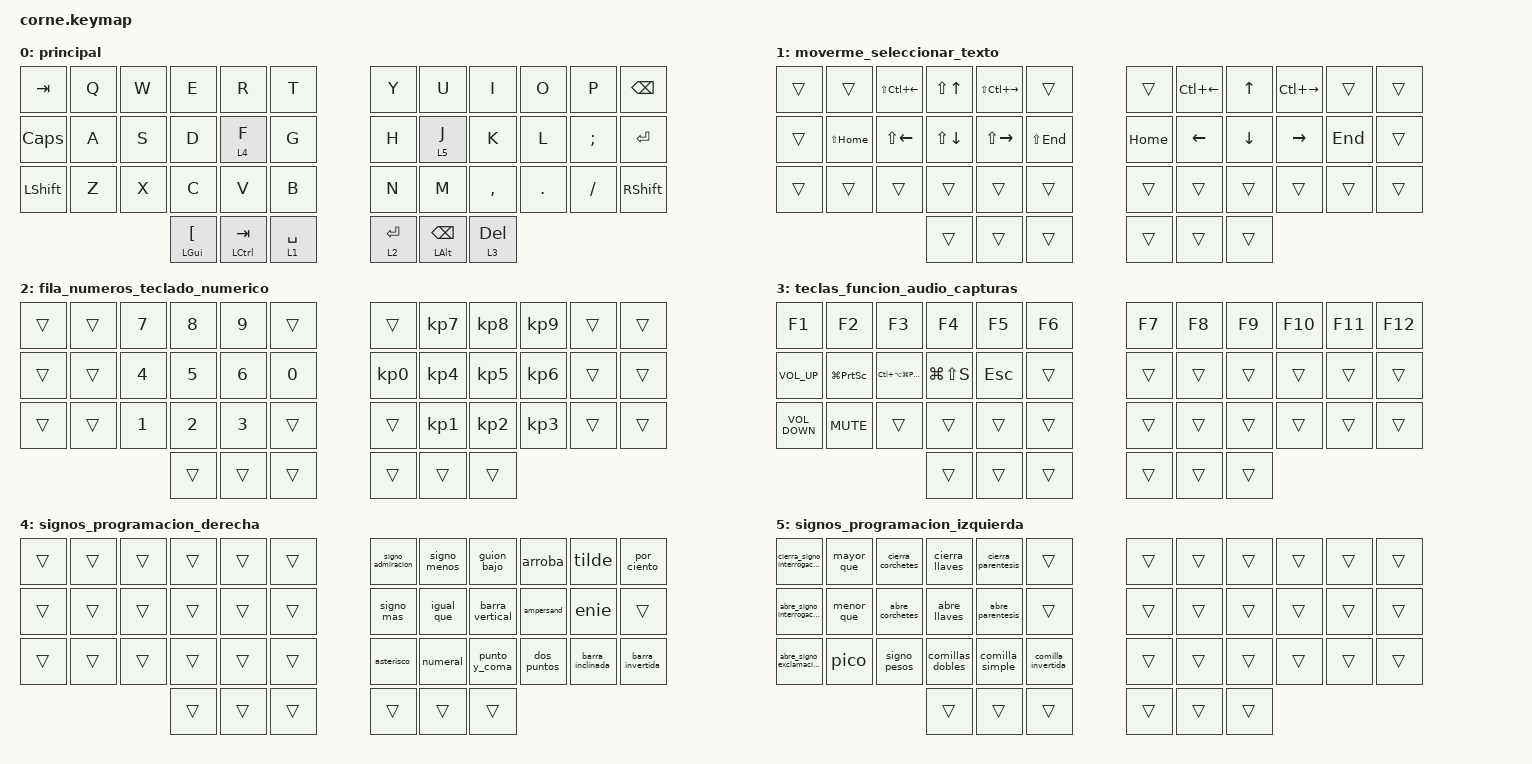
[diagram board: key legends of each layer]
/*
 * Copyright (c) 2020 The ZMK Contributors
 *
 * SPDX-License-Identifier: MIT
 */

#include <behaviors.dtsi>
#include <dt-bindings/zmk/keys.h>
#include <dt-bindings/zmk/bt.h>

/ {
    macros {
        menor_que: menor_a {
            compatible = "zmk,behavior-macro";
            #binding-cells = <0>;
            bindings =
                <&macro_press &kp LEFT_ALT &kp KP_NUMBER_6 &kp KP_NUMBER_0>,
                <&macro_release &kp LEFT_ALT &kp KP_NUMBER_6 &kp KP_NUMBER_0>;

            label = "MENOR_A";
        };

        mayor_que: mayor_que {
            compatible = "zmk,behavior-macro";
            #binding-cells = <0>;
            bindings =
                <&macro_press &kp LEFT_ALT &kp KP_NUMBER_6 &kp KP_NUMBER_2>,
                <&macro_release &kp LEFT_ALT &kp KP_NUMBER_6 &kp KP_NUMBER_2>;

            label = "MAYOR_QUE";
        };

        abre_corchetes: abre_corchetes {
            compatible = "zmk,behavior-macro";
            #binding-cells = <0>;
            bindings =
                <&macro_press &kp LEFT_ALT &kp KP_NUMBER_9 &kp KP_NUMBER_1>,
                <&macro_release &kp LEFT_ALT &kp KP_NUMBER_9 &kp KP_NUMBER_1>;

            label = "ABRE_CORCHETES";
        };

        cierra_corchetes: cierra_corchetes {
            compatible = "zmk,behavior-macro";
            #binding-cells = <0>;
            bindings =
                <&macro_press &kp LEFT_ALT &kp KP_NUMBER_9 &kp KP_NUMBER_3>,
                <&macro_release &kp LEFT_ALT &kp KP_NUMBER_9 &kp KP_NUMBER_3>;

            label = "CIERRA_CORCHETES";
        };

        abre_llaves: abre_llaves {
            compatible = "zmk,behavior-macro";
            #binding-cells = <0>;
            bindings =
                <&macro_press &kp LEFT_ALT &kp KP_NUMBER_1 &kp KP_NUMBER_2 &kp KP_NUMBER_3>,
                <&macro_release &kp LEFT_ALT &kp KP_NUMBER_1 &kp KP_NUMBER_2 &kp KP_NUMBER_3>;

            label = "ABRE_LLAVES";
        };

        cierra_llaves: cierra_llaves {
            compatible = "zmk,behavior-macro";
            #binding-cells = <0>;
            bindings =
                <&macro_press &kp LEFT_ALT &kp KP_NUMBER_1 &kp KP_NUMBER_2 &kp KP_NUMBER_5>,
                <&macro_release &kp LEFT_ALT &kp KP_NUMBER_1 &kp KP_NUMBER_2 &kp KP_NUMBER_5>;

            label = "CIERRA_LLAVES";
        };

        abre_parentesis: abre_parentesis {
            compatible = "zmk,behavior-macro";
            #binding-cells = <0>;
            bindings =
                <&macro_press &kp LEFT_ALT &kp KP_NUMBER_4 &kp KP_NUMBER_0>,
                <&macro_release &kp LEFT_ALT &kp KP_NUMBER_4 &kp KP_NUMBER_0>;

            label = "ABRE_PARENTESIS";
        };

        cierra_parentesis: cierra_parentesis {
            compatible = "zmk,behavior-macro";
            #binding-cells = <0>;
            bindings =
                <&macro_press &kp LEFT_ALT &kp KP_NUMBER_4 &kp KP_NUMBER_1>,
                <&macro_release &kp LEFT_ALT &kp KP_NUMBER_4 &kp KP_NUMBER_1>;

            label = "CIERRA_PARENTESIS";
        };

        abre_signo_interrogacion: abre_signo_interrogacion {
            compatible = "zmk,behavior-macro";
            #binding-cells = <0>;
            bindings =
                <&macro_press &kp LEFT_ALT &kp KP_NUMBER_1 &kp KP_NUMBER_6 &kp KP_NUMBER_8>,
                <&macro_release &kp LEFT_ALT &kp KP_NUMBER_1 &kp KP_NUMBER_6 &kp KP_NUMBER_8>;

            label = "ABRE_SIGNO_INTERROGACION";
        };

        cierra_signo_interrogacion: cierra_signo_interrogacion {
            compatible = "zmk,behavior-macro";
            #binding-cells = <0>;
            bindings =
                <&macro_press &kp LEFT_ALT &kp KP_NUMBER_6 &kp KP_NUMBER_3>,
                <&macro_release &kp LEFT_ALT &kp KP_NUMBER_6 &kp KP_NUMBER_3>;

            label = "CIERRA_SIGNO_INTERROGACION";
        };

        comillas_dobles: comillas_dobles {
            compatible = "zmk,behavior-macro";
            #binding-cells = <0>;
            bindings =
                <&macro_press &kp LEFT_ALT &kp KP_NUMBER_3 &kp KP_NUMBER_4>,
                <&macro_release &kp LEFT_ALT &kp KP_NUMBER_3 &kp KP_NUMBER_4>;

            label = "COMILLAS_DOBLES";
        };

        comilla_simple: comilla_simple {
            compatible = "zmk,behavior-macro";
            #binding-cells = <0>;
            bindings =
                <&macro_press &kp LEFT_ALT &kp KP_NUMBER_3 &kp KP_NUMBER_9>,
                <&macro_release &kp LEFT_ALT &kp KP_NUMBER_3 &kp KP_NUMBER_9>;

            label = "COMILLA_SIMPLE";
        };

        comilla_invertida: comilla_invertida {
            compatible = "zmk,behavior-macro";
            #binding-cells = <0>;
            bindings =
                <&macro_press &kp LEFT_ALT &kp KP_NUMBER_9 &kp KP_NUMBER_6>,
                <&macro_release &kp LEFT_ALT &kp KP_NUMBER_9 &kp KP_NUMBER_6>;

            label = "COMILLA_INVERTIDA";
        };

        punto_y_coma: punto_y_coma {
            compatible = "zmk,behavior-macro";
            #binding-cells = <0>;
            bindings =
                <&macro_press &kp LEFT_ALT &kp KP_NUMBER_5 &kp KP_NUMBER_9>,
                <&macro_release &kp LEFT_ALT &kp KP_NUMBER_5 &kp KP_NUMBER_9>;

            label = "PUNTO_Y_COMA";
        };

        dos_puntos: dos_puntos {
            compatible = "zmk,behavior-macro";
            #binding-cells = <0>;
            bindings =
                <&macro_press &kp LEFT_ALT &kp KP_NUMBER_5 &kp KP_NUMBER_8>,
                <&macro_release &kp LEFT_ALT &kp KP_NUMBER_5 &kp KP_NUMBER_8>;

            label = "DOS_PUNTOS";
        };

        signo_admiracion: signo_admiracion {
            compatible = "zmk,behavior-macro";
            #binding-cells = <0>;
            bindings =
                <&macro_press &kp LEFT_ALT &kp KP_NUMBER_3 &kp KP_NUMBER_3>,
                <&macro_release &kp LEFT_ALT &kp KP_NUMBER_3 &kp KP_NUMBER_3>;

            label = "SIGNO_ADMIRACION";
        };

        signo_mas: signo_mas {
            compatible = "zmk,behavior-macro";
            #binding-cells = <0>;
            bindings =
                <&macro_press &kp LEFT_ALT &kp KP_NUMBER_4 &kp KP_NUMBER_3>,
                <&macro_release &kp LEFT_ALT &kp KP_NUMBER_4 &kp KP_NUMBER_3>;

            label = "SIGNO_MAS";
        };

        asterisco: asterisco {
            compatible = "zmk,behavior-macro";
            #binding-cells = <0>;
            bindings =
                <&macro_press &kp LEFT_ALT &kp KP_NUMBER_4 &kp KP_NUMBER_2>,
                <&macro_release &kp LEFT_ALT &kp KP_NUMBER_4 &kp KP_NUMBER_2>;

            label = "ASTERISCO";
        };

        signo_menos: signo_menos {
            compatible = "zmk,behavior-macro";
            #binding-cells = <0>;
            bindings =
                <&macro_press &kp LEFT_ALT &kp KP_NUMBER_4 &kp KP_NUMBER_5>,
                <&macro_release &kp LEFT_ALT &kp KP_NUMBER_4 &kp KP_NUMBER_5>;

            label = "SIGNO_MENOS";
        };

        igual_que: igual_que {
            compatible = "zmk,behavior-macro";
            #binding-cells = <0>;
            bindings =
                <&macro_press &kp LEFT_ALT &kp KP_NUMBER_6 &kp KP_NUMBER_1>,
                <&macro_release &kp LEFT_ALT &kp KP_NUMBER_6 &kp KP_NUMBER_1>;

            label = "IGUAL_QUE";
        };

        signo_pesos: signo_pesos {
            compatible = "zmk,behavior-macro";
            #binding-cells = <0>;
            bindings =
                <&macro_press &kp LEFT_ALT &kp KP_NUMBER_3 &kp KP_NUMBER_6>,
                <&macro_release &kp LEFT_ALT &kp KP_NUMBER_3 &kp KP_NUMBER_6>;

            label = "SIGNO_PESOS";
        };

        numeral: numeral {
            compatible = "zmk,behavior-macro";
            #binding-cells = <0>;
            bindings =
                <&macro_press &kp LEFT_ALT &kp KP_NUMBER_3 &kp KP_NUMBER_5>,
                <&macro_release &kp LEFT_ALT &kp KP_NUMBER_3 &kp KP_NUMBER_5>;

            label = "NUMERAL";
        };

        barra_vertical: barra_vertical {
            compatible = "zmk,behavior-macro";
            #binding-cells = <0>;
            bindings =
                <&macro_press &kp LEFT_ALT &kp KP_NUMBER_1 &kp KP_NUMBER_2 &kp KP_NUMBER_4>,
                <&macro_release &kp LEFT_ALT &kp KP_NUMBER_1 &kp KP_NUMBER_2 &kp KP_NUMBER_4>;

            label = "BARRA_VERTICAL";
        };

        guion_bajo: guion_bajo {
            compatible = "zmk,behavior-macro";
            #binding-cells = <0>;
            bindings =
                <&macro_press &kp LEFT_ALT &kp KP_NUMBER_9 &kp KP_NUMBER_5>,
                <&macro_release &kp LEFT_ALT &kp KP_NUMBER_9 &kp KP_NUMBER_5>;

            label = "GUION_BAJO";
        };

        arroba: arroba {
            compatible = "zmk,behavior-macro";
            #binding-cells = <0>;
            bindings =
                <&macro_press &kp LEFT_ALT &kp KP_NUMBER_6 &kp KP_NUMBER_4>,
                <&macro_release &kp LEFT_ALT &kp KP_NUMBER_6 &kp KP_NUMBER_4>;

            label = "ARROBA";
        };

        ampersand: ampersand {
            compatible = "zmk,behavior-macro";
            #binding-cells = <0>;
            bindings =
                <&macro_press &kp LEFT_ALT &kp KP_NUMBER_3 &kp KP_NUMBER_8>,
                <&macro_release &kp LEFT_ALT &kp KP_NUMBER_3 &kp KP_NUMBER_8>;

            label = "AMPERSAND";
        };

        pico: pico {
            compatible = "zmk,behavior-macro";
            #binding-cells = <0>;
            bindings =
                <&macro_press &kp LEFT_ALT &kp KP_NUMBER_9 &kp KP_NUMBER_4>,
                <&macro_release &kp LEFT_ALT &kp KP_NUMBER_9 &kp KP_NUMBER_4>;

            label = "PICO";
        };

        tilde: tilde {
            compatible = "zmk,behavior-macro";
            #binding-cells = <0>;
            bindings =
                <&macro_press &kp LEFT_ALT &kp KP_NUMBER_1 &kp KP_NUMBER_2 &kp KP_NUMBER_6>,
                <&macro_release &kp LEFT_ALT &kp KP_NUMBER_1 &kp KP_NUMBER_2 &kp KP_NUMBER_6>;

            label = "TILDE";
        };

        por_ciento: por_ciento {
            compatible = "zmk,behavior-macro";
            #binding-cells = <0>;
            bindings =
                <&macro_press &kp LEFT_ALT &kp KP_NUMBER_3 &kp KP_NUMBER_7>,
                <&macro_release &kp LEFT_ALT &kp KP_NUMBER_3 &kp KP_NUMBER_7>;

            label = "POR_CIENTO";
        };

        barra_invertida: barra_invertida {
            compatible = "zmk,behavior-macro";
            #binding-cells = <0>;
            bindings =
                <&macro_press &kp LEFT_ALT &kp KP_NUMBER_9 &kp KP_NUMBER_2>,
                <&macro_release &kp LEFT_ALT &kp KP_NUMBER_9 &kp KP_NUMBER_2>;

            label = "BARRA_INVERTIDA";
        };

        barra_inclinada: barra_inclinada {
            compatible = "zmk,behavior-macro";
            #binding-cells = <0>;
            bindings =
                <&macro_press &kp LEFT_ALT &kp KP_NUMBER_4 &kp KP_NUMBER_7>,
                <&macro_release &kp LEFT_ALT &kp KP_NUMBER_4 &kp KP_NUMBER_7>;

            label = "BARRA_INCLINADA";
        };

        enie: enie {
            compatible = "zmk,behavior-macro";
            #binding-cells = <0>;
            bindings =
                <&macro_press &kp LEFT_ALT &kp KP_NUMBER_1 &kp KP_NUMBER_6 &kp KP_NUMBER_4>,
                <&macro_release &kp LEFT_ALT &kp KP_NUMBER_1 &kp KP_NUMBER_6 &kp KP_NUMBER_4>;

            label = "ENIE";
        };

        abre_signo_exclamacion: abre_signo_exclamacion {
            compatible = "zmk,behavior-macro";
            #binding-cells = <0>;
            bindings =
                <&macro_press &kp LEFT_ALT &kp KP_NUMBER_1 &kp KP_NUMBER_7 &kp KP_NUMBER_3>,
                <&macro_release &kp LEFT_ALT &kp KP_NUMBER_1 &kp KP_NUMBER_7 &kp KP_NUMBER_3>;

            label = "ABRE_SIGNO_EXCLAMACION";
        };
    };

    keymap {
        compatible = "zmk,keymap";

        principal {
            bindings = <
&kp TAB       &kp Q  &kp W  &kp E                  &kp R          &kp T          &kp Y        &kp U                   &kp I         &kp O    &kp P     &kp BACKSPACE
&kp CAPSLOCK  &kp A  &kp S  &kp D                  &lt 4 F        &kp G          &kp H        &lt 5 J                 &kp K         &kp L    &kp SEMI  &kp ENTER
&kp LSHFT     &kp Z  &kp X  &kp C                  &kp V          &kp B          &kp N        &kp M                   &kp COMMA     &kp DOT  &kp FSLH  &kp RSHFT
                            &mt LGUI LEFT_BRACKET  &mt LCTRL TAB  &lt 1 SPACE    &lt 2 ENTER  &mt LEFT_ALT BACKSPACE  &lt 3 DELETE
            >;
        };

        moverme_seleccionar_texto {
            bindings = <
&trans  &trans        &kp LS(LC(LEFT))  &kp LS(UP_ARROW)  &kp LS(LC(RIGHT))  &trans         &trans    &kp LC(LEFT_ARROW)  &kp UP_ARROW  &kp LC(RIGHT)  &trans   &trans
&trans  &kp LS(HOME)  &kp LS(LEFT)      &kp LS(DOWN)      &kp LS(RIGHT)      &kp LS(END)    &kp HOME  &kp LEFT            &kp DOWN      &kp RIGHT      &kp END  &trans
&trans  &trans        &trans            &trans            &trans             &trans         &trans    &trans              &trans        &trans         &trans   &trans
                                        &trans            &trans             &trans         &trans    &trans              &trans
            >;
        };

        fila_numeros_teclado_numerico {
            bindings = <
&trans  &trans  &kp N7        &kp N8        &kp N9        &trans    &trans           &kp KP_NUMBER_7  &kp KP_NUMBER_8  &kp KP_NUMBER_9  &trans  &trans
&trans  &trans  &kp NUMBER_4  &kp N5        &kp NUMBER_6  &kp N0    &kp KP_NUMBER_0  &kp KP_NUMBER_4  &kp KP_NUMBER_5  &kp KP_NUMBER_6  &trans  &trans
&trans  &trans  &kp NUMBER_1  &kp NUMBER_2  &kp NUMBER_3  &trans    &trans           &kp KP_NUMBER_1  &kp KP_NUMBER_2  &kp KP_NUMBER_3  &trans  &trans
                              &trans        &trans        &trans    &trans           &trans           &trans
            >;
        };

        teclas_funcion_audio_capturas {
            bindings = <
&kp F1             &kp F2               &kp F3                       &kp F4         &kp F5      &kp F6    &kp F7  &kp F8  &kp F9  &kp F10  &kp F11  &kp F12
&kp C_VOLUME_UP    &kp LG(PRINTSCREEN)  &kp LC(LA(LG(PRINTSCREEN)))  &kp LG(LS(S))  &kp ESCAPE  &trans    &trans  &trans  &trans  &trans   &trans   &trans
&kp C_VOLUME_DOWN  &kp K_MUTE           &trans                       &trans         &trans      &trans    &trans  &trans  &trans  &trans   &trans   &trans
                                                                     &trans         &trans      &trans    &trans  &trans  &trans
            >;
        };

        signos_programacion_derecha {
            bindings = <
&trans  &trans  &trans  &trans  &trans  &trans    &signo_admiracion  &signo_menos  &guion_bajo      &arroba      &tilde            &por_ciento
&trans  &trans  &trans  &trans  &trans  &trans    &signo_mas         &igual_que    &barra_vertical  &ampersand   &enie             &trans
&trans  &trans  &trans  &trans  &trans  &trans    &asterisco         &numeral      &punto_y_coma    &dos_puntos  &barra_inclinada  &barra_invertida
                        &trans  &trans  &trans    &trans             &trans        &trans
            >;
        };

        signos_programacion_izquierda {
            bindings = <
&cierra_signo_interrogacion  &mayor_que  &cierra_corchetes  &cierra_llaves    &cierra_parentesis  &trans                &trans  &trans  &trans  &trans  &trans  &trans
&abre_signo_interrogacion    &menor_que  &abre_corchetes    &abre_llaves      &abre_parentesis    &trans                &trans  &trans  &trans  &trans  &trans  &trans
&abre_signo_exclamacion      &pico       &signo_pesos       &comillas_dobles  &comilla_simple     &comilla_invertida    &trans  &trans  &trans  &trans  &trans  &trans
                                                            &trans            &trans              &trans                &trans  &trans  &trans
            >;
        };
    };
};

